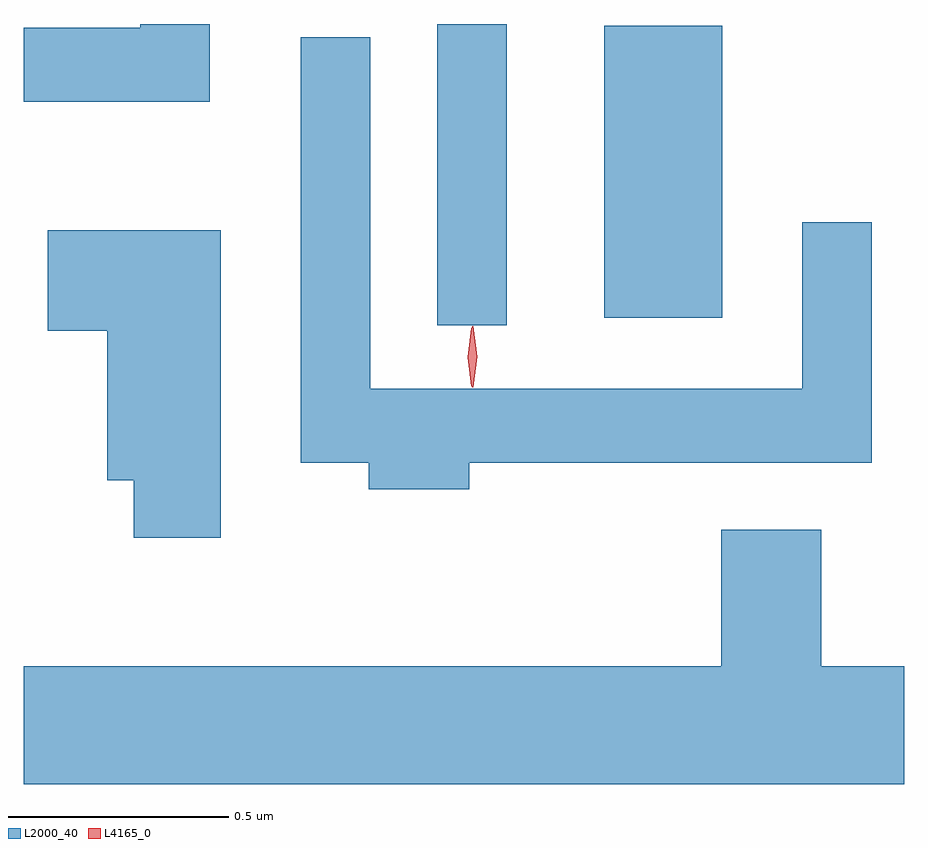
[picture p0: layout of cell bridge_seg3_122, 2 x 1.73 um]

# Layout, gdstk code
import gdstk
lib = gdstk.Library(unit=1e-6, precision=1e-09)
def R(c, l, rs):  # rectangles x0, y0, x1, y1
    for r in rs: c.add(gdstk.rectangle(r[:2], r[2:], *l))
def P(c, l, *ps):  # polygons
    for p in ps: c.add(gdstk.Polygon(p, *l))
L2000_40 = (2000, 40)
L4165_0 = (4165, 0)

bridge_seg3_122 = lib.new_cell('bridge_seg3_122')
R(bridge_seg3_122, L2000_40, [(1071.796,1229.178,1071.954,1229.863), (1072.176,1229.196,1072.444,1229.859)])
P(bridge_seg3_122, L2000_40, [(1071.279,1229.863),(1071.121,1229.863),(1071.121,1229.854),(1070.857,1229.854),(1070.857,1229.686),(1071.279,1229.686)],
  [(1071.869,1228.866),(1072.784,1228.866),(1072.784,1229.413),(1072.626,1229.413),(1072.626,1229.034),(1071.644,1229.034),(1071.644,1229.833),(1071.486,1229.833),(1071.486,1228.866),(1071.641,1228.866),(1071.641,1228.806),(1071.869,1228.806)],
  [(1071.304,1229.394),(1070.911,1229.394),(1070.911,1229.166),(1071.046,1229.166),(1071.046,1228.826),(1071.106,1228.826),(1071.106,1228.696),(1071.304,1228.696)],
  [(1072.857,1228.404),(1072.669,1228.404),(1072.669,1228.714),(1072.441,1228.714),(1072.441,1228.404),(1070.857,1228.404),(1070.857,1228.136),(1072.857,1228.136)])
P(bridge_seg3_122, L4165_0, [(1071.877,1229.037),(1071.876,1229.038),(1071.867,1229.107),(1071.876,1229.176),(1071.877,1229.176),(1071.878,1229.176),(1071.887,1229.107),(1071.878,1229.038)],
  [(1071.874,1229.04),(1071.874,1229.04),(1071.865,1229.106),(1071.874,1229.172),(1071.875,1229.173),(1071.875,1229.172),(1071.884,1229.106),(1071.875,1229.04)])

lib.write_gds('bridge_seg3_122.gds')
